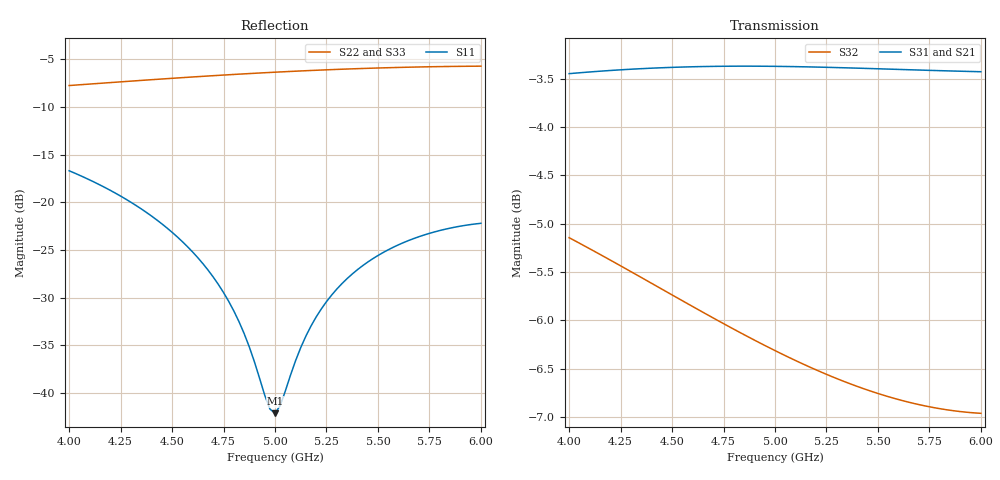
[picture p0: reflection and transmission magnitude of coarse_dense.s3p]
! yapnr rf: divider-osh-w-star-sched, footprint re-simulated (optimization grid)
! spec sha256 728df57683abed8ddd9652d9c29a1a1523d264d5113645caf1ac39285962e076
! 3 ports renormalized to 50 ohm, e^(+jwt) convention
# GHz S RI R 50
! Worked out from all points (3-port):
!   81 points, 4 GHz to 6 GHz, reference 50 ohm
!   strongest paths, dB at 4 GHz, 4.5 GHz, 5 GHz, 5.5 GHz, 6 GHz:
!     S31: -3.4, -3.4, -3.4, -3.4, -3.4
!     S21: -3.4, -3.4, -3.4, -3.4, -3.4
!     S32: -5.1, -5.7, -6.3, -6.8, -7.0
!   lowest |S11| = -42.1 dB at 5 GHz (marker M1), VSWR 1.02, Z = 49.5 + j0.629 ohm
!   |S11| at or under -10 dB: start of sweep to end of sweep
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4  0.0358 0.142  -0.6529 -0.1611  -0.6529 -0.1611
   -0.6528 -0.1618  0.353 -0.2078  -0.4537 0.3163
   -0.6528 -0.1618  -0.4537 0.3163  0.353 -0.2078
4.375  0.0405 0.0789  -0.6752 0.0369  -0.6752 0.0369
       -0.6758 0.0358  0.2747 -0.3406  -0.309 0.4252
       -0.6758 0.0358  -0.309 0.4252  0.2747 -0.3406
4.65  0.0266 0.0396  -0.652 0.1832  -0.652 0.1832
      -0.6533 0.1821  0.1905 -0.4163  -0.194 0.4673
      -0.6533 0.1821  -0.194 0.4673  0.1905 -0.4163
4.825  0.0123 0.0203  -0.6201 0.2723  -0.6201 0.2723
       -0.6219 0.2715  0.1281 -0.4521  -0.1215 0.4791
       -0.6219 0.2715  -0.1215 0.4791  0.1281 -0.4521
4.975  -0.00209 0.00799  -0.5826 0.3445  -0.5826 0.3445
       -0.5848 0.3439  0.0707 -0.4743  -0.0613 0.481
       -0.5848 0.3439  -0.0613 0.481  0.0707 -0.4743
5  -0.0046 0.00634  -0.5755 0.356  -0.5755 0.356
   -0.5778 0.3555  0.0609 -0.4772  -0.0515 0.4806
   -0.5778 0.3555  -0.0515 0.4806  0.0609 -0.4772
5.175  -0.0224 -0.00196  -0.5195 0.4324  -0.5195 0.4324
       -0.5221 0.4324  -0.00917 -0.4911  0.015 0.4734
       -0.5221 0.4324  0.015 0.4734  -0.00917 -0.4911
5.35  -0.0395 -0.00487  -0.4534 0.4999  -0.4534 0.4999
      -0.456 0.5006  -0.0802 -0.4934  0.0773 0.4588
      -0.456 0.5006  0.0773 0.4588  -0.0802 -0.4934
5.625  -0.0616 -0.000359  -0.3323 0.5852  -0.3323 0.5852
       -0.3348 0.5871  -0.189 -0.4741  0.1664 0.4237
       -0.3348 0.5871  0.1664 0.4237  -0.189 -0.4741
6  -0.076 0.016  -0.1436 0.6552  -0.1436 0.6552
   -0.1448 0.6583  -0.3206 -0.4062  0.2713 0.3572
   -0.1448 0.6583  0.2713 0.3572  -0.3206 -0.4062
